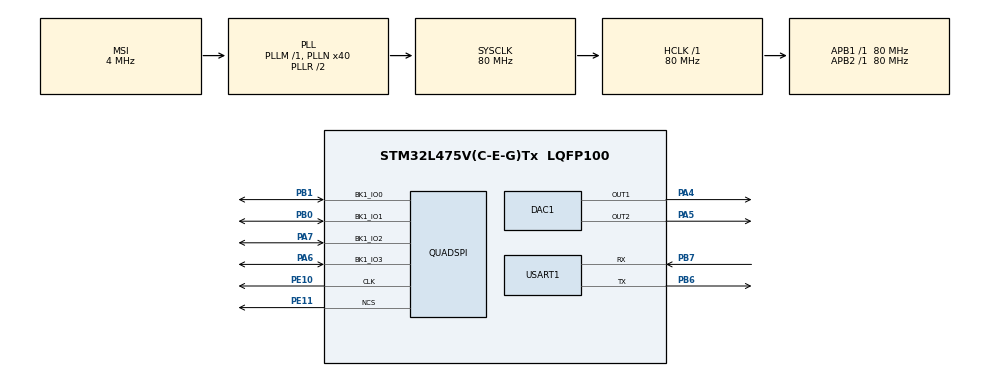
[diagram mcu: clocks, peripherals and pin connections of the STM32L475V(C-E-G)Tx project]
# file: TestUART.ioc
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DAC1.DAC_Channel-DAC_OUT2=DAC_CHANNEL_2
Mcu.Family=STM32L4
Mcu.Name=STM32L475V(C-E-G)Tx
Mcu.Package=LQFP100
NVIC.PriorityGroup=NVIC_PRIORITYGROUP_4
NVIC.TIM2_IRQn=true\:0\:0\:false\:false\:true\:true\:true
PA4.Signal=COMP_DAC11_group
PA5.Signal=COMP_DAC12_group
PA6.Mode=Single Bank
PA6.Signal=QUADSPI_BK1_IO3
PA7.Mode=Single Bank
PA7.Signal=QUADSPI_BK1_IO2
PB0.Mode=Single Bank
PB0.Signal=QUADSPI_BK1_IO1
PB1.Mode=Single Bank
PB1.Signal=QUADSPI_BK1_IO0
PB6.Mode=Asynchronous
PB6.Signal=USART1_TX
PB7.Mode=Asynchronous
PB7.Signal=USART1_RX
PE10.Mode=Single Bank
PE10.Signal=QUADSPI_CLK
PE11.Mode=Single Bank
PE11.Signal=QUADSPI_NCS
ProjectManager.HeapSize=0x200
ProjectManager.StackSize=0x400
ProjectManager.TargetToolchain=MDK-ARM V5.27
RCC.ADCFreq_Value=48000000
RCC.AHBFreq_Value=80000000
RCC.APB1Freq_Value=80000000
RCC.APB1TimFreq_Value=80000000
RCC.APB2Freq_Value=80000000
RCC.APB2TimFreq_Value=80000000
RCC.CortexFreq_Value=80000000
RCC.HCLKFreq_Value=80000000
RCC.HSE_VALUE=8000000
RCC.HSI_VALUE=16000000
RCC.LSE_VALUE=32768
RCC.MSI_VALUE=4000000
RCC.PLLN=40
RCC.PLLSAI1N=24
RCC.SYSCLKFreq_VALUE=80000000
RCC.SYSCLKSource=RCC_SYSCLKSOURCE_PLLCLK
RCC.USBFreq_Value=48000000
RCC.VCOOutputFreq_Value=160000000
SH.COMP_DAC11_group.0=DAC1_OUT1,DAC_OUT1
SH.COMP_DAC12_group.0=DAC1_OUT2,DAC_OUT2
TIM2.AutoReloadPreload=TIM_AUTORELOAD_PRELOAD_ENABLE
TIM2.Period=5000
USART1.VirtualMode-Asynchronous=VM_ASYNC
VP_TIM2_VS_ClockSourceINT.Mode=Internal
board=B-L475E-IOT01A1

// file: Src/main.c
/* USER CODE BEGIN Header */
/**
  ******************************************************************************
  * @file           : main.c
  * @brief          : Main program body
  ******************************************************************************
  * @attention
  *
  * <h2><center>&copy; Copyright (c) 2019 STMicroelectronics.
  * All rights reserved.</center></h2>
  *
  * This software component is licensed by ST under BSD 3-Clause license,
  * the "License"; You may not use this file except in compliance with the
  * License. You may obtain a copy of the License at:
  *                        opensource.org/licenses/BSD-3-Clause
  *
  ******************************************************************************
  */
/* USER CODE END Header */

#include "main.h"

/* USER CODE BEGIN Includes */
#include "arm_math.h"
#include "stm32l475e_iot01_qspi.h"
#include "generatesine.h"
/* USER CODE END Includes */

DAC_HandleTypeDef hdac1;

QSPI_HandleTypeDef hqspi;

TIM_HandleTypeDef htim2;

UART_HandleTypeDef huart1;

/* USER CODE BEGIN PV */

int volume;

/* USER CODE END PV */

void SystemClock_Config(void);
static void MX_GPIO_Init(void);
static void MX_USART1_UART_Init(void);
static void MX_DAC1_Init(void);
static void MX_TIM2_Init(void);
static void MX_QUADSPI_Init(void);

/* USER CODE BEGIN 0 */
int fputc(int ch, FILE *f) {
  while (HAL_OK != HAL_UART_Transmit(&huart1, (uint8_t *) &ch, 1, 30000));
  return ch;
}

int fgetc(FILE *f) {
  uint8_t ch = 0;
  while (HAL_OK != HAL_UART_Receive(&huart1, (uint8_t *)&ch, 1, 30000));
  return ch;
}
/* USER CODE END 0 */

int main(void)
{

  /* MCU Configuration--------------------------------------------------------*/

  /* Reset of all peripherals, Initializes the Flash interface and the Systick. */
  HAL_Init();

  /* Configure the system clock */
  SystemClock_Config();

  /* Initialize all configured peripherals */
  MX_GPIO_Init();
  MX_USART1_UART_Init();
  MX_DAC1_Init();
  MX_TIM2_Init();
  MX_QUADSPI_Init();
  /* USER CODE BEGIN 2 */
	HAL_TIM_Base_Start_IT(&htim2);
	HAL_DAC_Start(&hdac1, DAC_CHANNEL_1);
	HAL_DAC_Start(&hdac1, DAC_CHANNEL_2);

	if (BSP_QSPI_Init() == QSPI_OK) {
		printf("qspi init successful\n");
	} else {
		printf("qspi init failed\n");
	}

	printSine(0, 32000);
	for (int i = 0; i < 4; i++) {
		BSP_QSPI_Erase_Block(i);
	}
	printSine(0, 32000);

	writeSineFloat(440, 1000, 0, 16000, 2);

	printSine(0, 32000);
  /* USER CODE END 2 */

  /* Infinite loop */
  while (1)
  {

  }
}

void SystemClock_Config(void)
{
  RCC_OscInitTypeDef RCC_OscInitStruct = {0};
  RCC_ClkInitTypeDef RCC_ClkInitStruct = {0};
  RCC_PeriphCLKInitTypeDef PeriphClkInit = {0};

  /** Initializes the CPU, AHB and APB busses clocks
  */
  RCC_OscInitStruct.OscillatorType = RCC_OSCILLATORTYPE_MSI;
  RCC_OscInitStruct.MSIState = RCC_MSI_ON;
  RCC_OscInitStruct.MSICalibrationValue = 0;
  RCC_OscInitStruct.MSIClockRange = RCC_MSIRANGE_6;
  RCC_OscInitStruct.PLL.PLLState = RCC_PLL_ON;
  RCC_OscInitStruct.PLL.PLLSource = RCC_PLLSOURCE_MSI;
  RCC_OscInitStruct.PLL.PLLM = 1;
  RCC_OscInitStruct.PLL.PLLN = 40;
  RCC_OscInitStruct.PLL.PLLP = RCC_PLLP_DIV7;
  RCC_OscInitStruct.PLL.PLLQ = RCC_PLLQ_DIV2;
  RCC_OscInitStruct.PLL.PLLR = RCC_PLLR_DIV2;
  if (HAL_RCC_OscConfig(&RCC_OscInitStruct) != HAL_OK)
  {
    Error_Handler();
  }
  /** Initializes the CPU, AHB and APB busses clocks
  */
  RCC_ClkInitStruct.ClockType = RCC_CLOCKTYPE_HCLK|RCC_CLOCKTYPE_SYSCLK
                              |RCC_CLOCKTYPE_PCLK1|RCC_CLOCKTYPE_PCLK2;
  RCC_ClkInitStruct.SYSCLKSource = RCC_SYSCLKSOURCE_PLLCLK;
  RCC_ClkInitStruct.AHBCLKDivider = RCC_SYSCLK_DIV1;
  RCC_ClkInitStruct.APB1CLKDivider = RCC_HCLK_DIV1;
  RCC_ClkInitStruct.APB2CLKDivider = RCC_HCLK_DIV1;

  if (HAL_RCC_ClockConfig(&RCC_ClkInitStruct, FLASH_LATENCY_4) != HAL_OK)
  {
    Error_Handler();
  }
  PeriphClkInit.PeriphClockSelection = RCC_PERIPHCLK_USART1;
  PeriphClkInit.Usart1ClockSelection = RCC_USART1CLKSOURCE_PCLK2;
  if (HAL_RCCEx_PeriphCLKConfig(&PeriphClkInit) != HAL_OK)
  {
    Error_Handler();
  }
  /** Configure the main internal regulator output voltage
  */
  if (HAL_PWREx_ControlVoltageScaling(PWR_REGULATOR_VOLTAGE_SCALE1) != HAL_OK)
  {
    Error_Handler();
  }
}

static void MX_DAC1_Init(void)
{

  DAC_ChannelConfTypeDef sConfig = {0};

  /** DAC Initialization
  */
  hdac1.Instance = DAC1;
  if (HAL_DAC_Init(&hdac1) != HAL_OK)
  {
    Error_Handler();
  }
  /** DAC channel OUT1 config
  */
  sConfig.DAC_SampleAndHold = DAC_SAMPLEANDHOLD_DISABLE;
  sConfig.DAC_Trigger = DAC_TRIGGER_NONE;
  sConfig.DAC_OutputBuffer = DAC_OUTPUTBUFFER_ENABLE;
  sConfig.DAC_ConnectOnChipPeripheral = DAC_CHIPCONNECT_DISABLE;
  sConfig.DAC_UserTrimming = DAC_TRIMMING_FACTORY;
  if (HAL_DAC_ConfigChannel(&hdac1, &sConfig, DAC_CHANNEL_1) != HAL_OK)
  {
    Error_Handler();
  }
  /** DAC channel OUT2 config
  */
  sConfig.DAC_ConnectOnChipPeripheral = DAC_CHIPCONNECT_DISABLE;
  if (HAL_DAC_ConfigChannel(&hdac1, &sConfig, DAC_CHANNEL_2) != HAL_OK)
  {
    Error_Handler();
  }

}

static void MX_QUADSPI_Init(void)
{

  /* QUADSPI parameter configuration*/
  hqspi.Instance = QUADSPI;
  hqspi.Init.ClockPrescaler = 255;
  hqspi.Init.FifoThreshold = 1;
  hqspi.Init.SampleShifting = QSPI_SAMPLE_SHIFTING_NONE;
  hqspi.Init.FlashSize = 1;
  hqspi.Init.ChipSelectHighTime = QSPI_CS_HIGH_TIME_1_CYCLE;
  hqspi.Init.ClockMode = QSPI_CLOCK_MODE_0;
  if (HAL_QSPI_Init(&hqspi) != HAL_OK)
  {
    Error_Handler();
  }

}

static void MX_TIM2_Init(void)
{

  TIM_ClockConfigTypeDef sClockSourceConfig = {0};
  TIM_MasterConfigTypeDef sMasterConfig = {0};

  htim2.Instance = TIM2;
  htim2.Init.Prescaler = 0;
  htim2.Init.CounterMode = TIM_COUNTERMODE_UP;
  htim2.Init.Period = 5000;
  htim2.Init.ClockDivision = TIM_CLOCKDIVISION_DIV1;
  htim2.Init.AutoReloadPreload = TIM_AUTORELOAD_PRELOAD_ENABLE;
  if (HAL_TIM_Base_Init(&htim2) != HAL_OK)
  {
    Error_Handler();
  }
  sClockSourceConfig.ClockSource = TIM_CLOCKSOURCE_INTERNAL;
  if (HAL_TIM_ConfigClockSource(&htim2, &sClockSourceConfig) != HAL_OK)
  {
    Error_Handler();
  }
  sMasterConfig.MasterOutputTrigger = TIM_TRGO_RESET;
  sMasterConfig.MasterSlaveMode = TIM_MASTERSLAVEMODE_DISABLE;
  if (HAL_TIMEx_MasterConfigSynchronization(&htim2, &sMasterConfig) != HAL_OK)
  {
    Error_Handler();
  }

}

static void MX_USART1_UART_Init(void)
{

  huart1.Instance = USART1;
  huart1.Init.BaudRate = 115200;
  huart1.Init.WordLength = UART_WORDLENGTH_8B;
  huart1.Init.StopBits = UART_STOPBITS_1;
  huart1.Init.Parity = UART_PARITY_NONE;
  huart1.Init.Mode = UART_MODE_TX_RX;
  huart1.Init.HwFlowCtl = UART_HWCONTROL_NONE;
  huart1.Init.OverSampling = UART_OVERSAMPLING_16;
  huart1.Init.OneBitSampling = UART_ONE_BIT_SAMPLE_DISABLE;
  huart1.AdvancedInit.AdvFeatureInit = UART_ADVFEATURE_NO_INIT;
  if (HAL_UART_Init(&huart1) != HAL_OK)
  {
    Error_Handler();
  }

}

static void MX_GPIO_Init(void)
{

  /* GPIO Ports Clock Enable */
  __HAL_RCC_GPIOA_CLK_ENABLE();
  __HAL_RCC_GPIOB_CLK_ENABLE();
  __HAL_RCC_GPIOE_CLK_ENABLE();

}

void Error_Handler(void)
{
}

/************************ (C) COPYRIGHT STMicroelectronics *****END OF FILE****/
